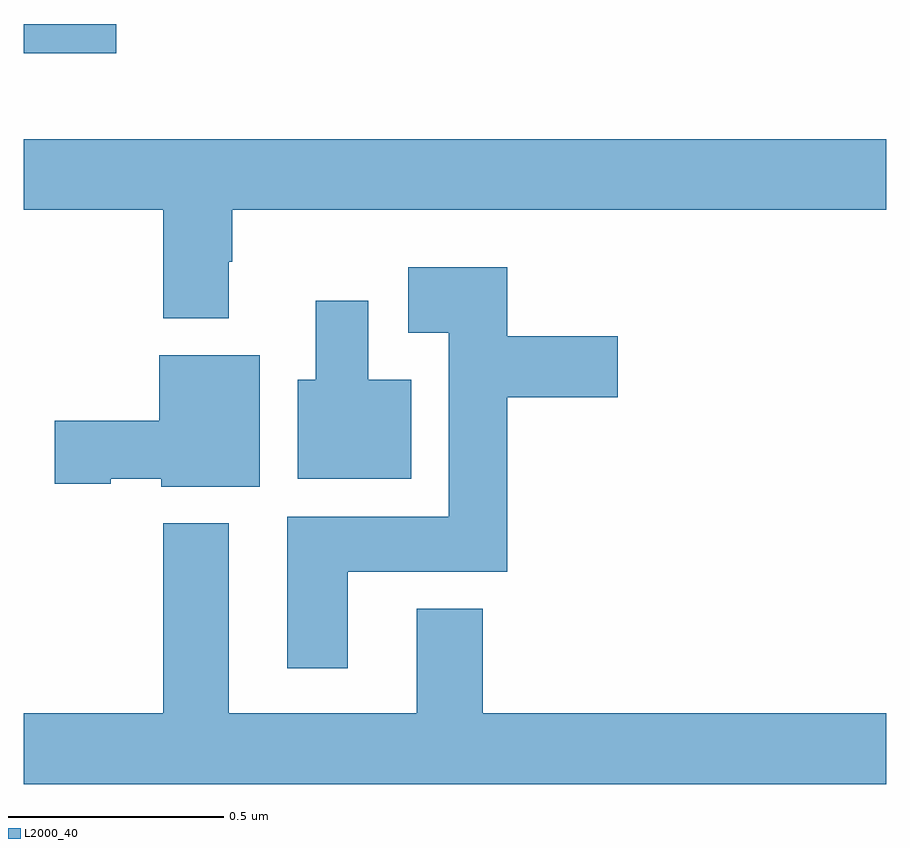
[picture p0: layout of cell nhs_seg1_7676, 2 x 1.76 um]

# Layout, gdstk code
import gdstk
lib = gdstk.Library(unit=1e-6, precision=1e-09)
def R(c, l, rs):  # rectangles x0, y0, x1, y1
    for r in rs: c.add(gdstk.rectangle(r[:2], r[2:], *l))
def P(c, l, *ps):  # polygons
    for p in ps: c.add(gdstk.Polygon(p, *l))
L2000_40 = (2000, 40)

nhs_seg1_7676 = lib.new_cell('nhs_seg1_7676')
R(nhs_seg1_7676, L2000_40, [(207,516.131,207.214,516.199)])
P(nhs_seg1_7676, L2000_40, [(207.475,515.648),(207.483,515.648),(207.483,515.768),(209,515.768),(209,515.932),(207,515.932),(207,515.768),(207.323,515.768),(207.323,515.516),(207.475,515.516)],
  [(207.751,514.928),(208.121,514.928),(208.121,515.333),(208.378,515.333),(208.378,515.475),(208.121,515.475),(208.121,515.635),(207.891,515.635),(207.891,515.483),(207.986,515.483),(207.986,515.056),(207.611,515.056),(207.611,514.704),(207.751,514.704)],
  [(207.898,515.374),(207.799,515.374),(207.799,515.557),(207.677,515.557),(207.677,515.374),(207.635,515.374),(207.635,515.144),(207.898,515.144)],
  [(207.547,515.431),(207.314,515.431),(207.314,515.279),(207.072,515.279),(207.072,515.132),(207.201,515.132),(207.201,515.144),(207.318,515.144),(207.318,515.126),(207.547,515.126)],
  [(209,514.6),(208.064,514.6),(208.064,514.843),(207.911,514.843),(207.911,514.6),(207.475,514.6),(207.475,515.041),(207.323,515.041),(207.323,514.6),(207,514.6),(207,514.436),(209,514.436)])

lib.write_gds('nhs_seg1_7676.gds')
